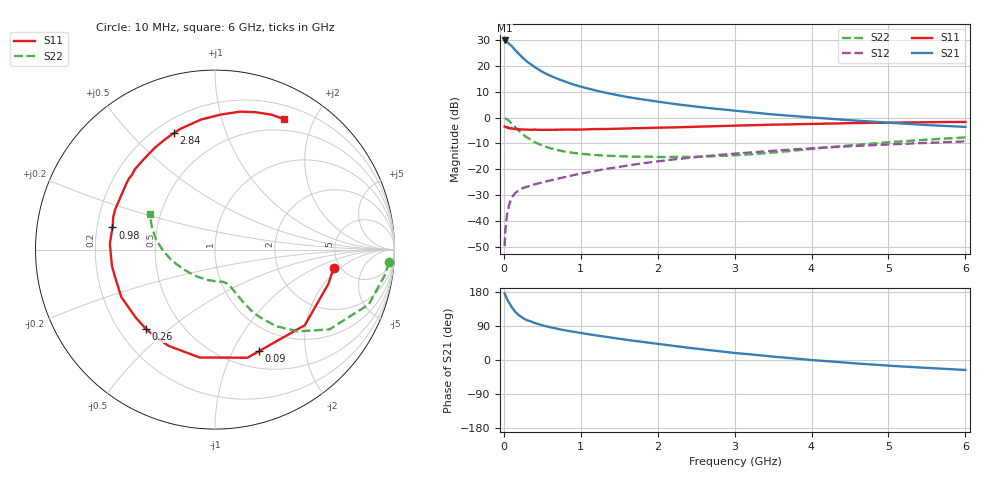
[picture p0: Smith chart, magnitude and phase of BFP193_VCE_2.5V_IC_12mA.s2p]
! Infineon Technologies  Discrete & RF Semiconductors
! BFP193
! VCE = 2.5 V,  IC =  12 mA
! Common Emitter S-Parameters:  Jan 2016
# GHz  S  MA  R  50
!  f  S11  S21  S12  S22
! GHz  MAG  ANG  MAG  ANG  MAG  ANG  MAG  ANG
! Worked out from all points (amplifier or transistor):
!   210 points, 10 MHz to 6 GHz, reference 50 ohm
!   highest |S21| = 29.7 dB at 10 MHz (marker M1)
!   |S21| within 3 dB of that: start of sweep to 125.6 MHz
!   unconditionally stable (mu >= 1): 919.5 MHz to 3.751 GHz
!   at 185 MHz: K = 0.37, MSG = 26.6 dB, |S12| = -28.3 dB
!   at 1.52 GHz: K = 1.09, MAG = 11.9 dB, |S12| = -18.9 dB
!   at 6 GHz: K = 0.91, MSG = 2.8 dB, |S12| = -9.2 dB
!   S11 on the Smith chart (normalised r, x): 10 MHz: 4.41, -1.61; 90 MHz: 0.70, -1.27; 260 MHz: 0.31, -0.42; 980 MHz: 0.27, +0.10; 2.84 GHz: 0.27, +0.67; 6 GHz: 0.36, +1.61
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0.01  0.6682 -8.7  30.64 175.9  0.0033 84.6  0.9724 -4.2
0.02  0.6604 -16.7  29.79 170.1  0.0067 84.2  0.9588 -8.2
0.05  0.6539 -40.1  28.08 157.4  0.0159 72.0  0.9097 -19.6
0.09  0.6168 -66.6  24.65 143.7  0.0257 61.9  0.7987 -31.5
0.1  0.629 -73.3  24.05 139.7  0.0282 60.5  0.7772 -34.9
0.15  0.6073 -98.1  19.73 126.4  0.0351 51.5  0.6476 -44.7
0.2  0.5956 -115.8  16.57 117.3  0.0399 47.5  0.5485 -51.2
0.24  0.5871 -126.5  14.45 111.8  0.043 45.8  0.4838 -54.5
0.26  0.5856 -131.1  13.55 109.3  0.0443 45.2  0.4569 -56.1
0.3  0.582 -138.9  12.03 105.1  0.0462 44.3  0.4135 -58.6
0.4  0.5853 -153.1  9.387 97.6  0.0514 44.1  0.3351 -61.7
0.5  0.5777 -163.2  7.6 91.5  0.0559 45.1  0.2872 -63.6
0.7  0.5814 -178.2  5.556 81.9  0.0658 47.4  0.2346 -66.5
0.98  0.5843 167.8  4.016 71.9  0.0815 50.0  0.2019 -70.2
1.02  0.5866 165.9  3.867 70.5  0.0837 50.3  0.199 -70.9
1.4  0.603 151.1  2.839 59.0  0.1058 50.6  0.1824 -79.0
2.02  0.6361 131.6  1.997 42.1  0.1441 47.7  0.1731 -96.7
2.84  0.6878 109.6  1.434 22.3  0.1921 40.7  0.1815 -126.4
3.1  0.7036 104.1  1.308 16.8  0.2065 38.2  0.1904 -136.3
4.1  0.7576 85.9  0.978 -1.6  0.2601 28.0  0.2566 -169.2
5.1  0.8009 72.2  0.78 -16.2  0.3069 17.4  0.3413 168.1
6  0.8221 62.0  0.659 -26.3  0.3464 7.7  0.4139 151.4
